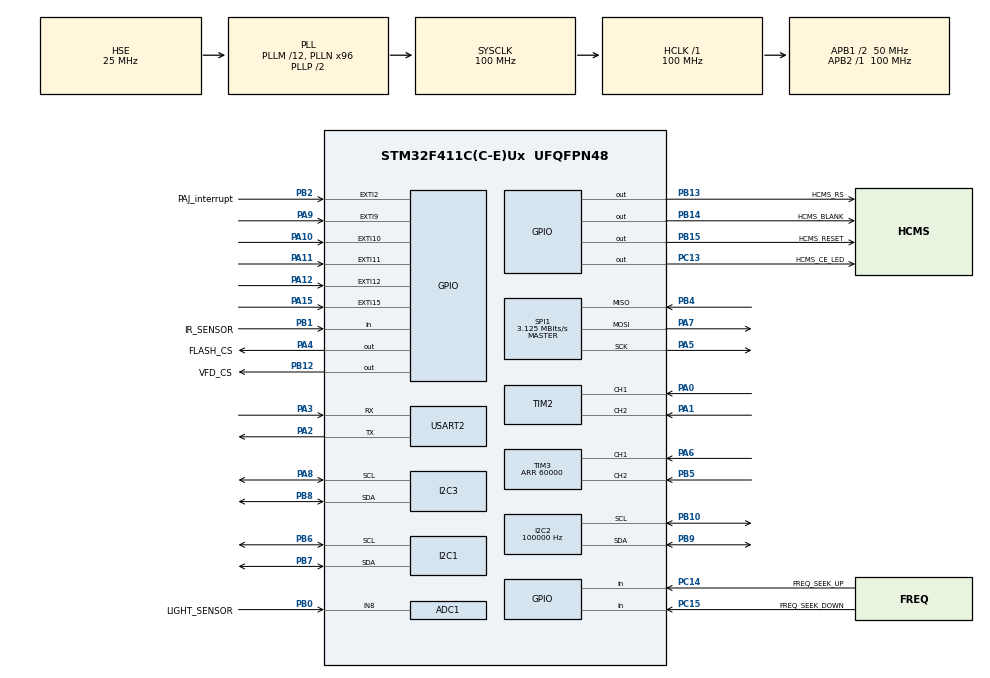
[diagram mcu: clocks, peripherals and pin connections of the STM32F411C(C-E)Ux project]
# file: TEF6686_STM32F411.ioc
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ADC1.Channel-0\#ChannelRegularConversion=ADC_CHANNEL_8
ADC1.NbrOfConversionFlag=1
ADC1.Rank-0\#ChannelRegularConversion=1
ADC1.SamplingTime-0\#ChannelRegularConversion=ADC_SAMPLETIME_3CYCLES
ADC1.master=1
I2C1.I2C_Mode=I2C_Fast
I2C2.ClockSpeed=100000
I2C2.DutyCycle=I2C_DUTYCYCLE_16_9
I2C2.I2C_Mode=I2C_Fast
IWDG.Prescaler=IWDG_PRESCALER_128
IWDG.Reload=600
Mcu.Family=STM32F4
Mcu.Name=STM32F411C(C-E)Ux
Mcu.Package=UFQFPN48
NVIC.EXTI15_10_IRQn=true\:0\:0\:false\:false\:true\:true\:true\:true
NVIC.EXTI2_IRQn=true\:0\:0\:false\:false\:true\:true\:true\:true
NVIC.EXTI9_5_IRQn=true\:0\:0\:false\:false\:true\:true\:true\:true
NVIC.PriorityGroup=NVIC_PRIORITYGROUP_4
NVIC.TIM1_UP_TIM10_IRQn=true\:15\:0\:false\:false\:true\:false\:true\:true
NVIC.TIM2_IRQn=true\:0\:0\:false\:false\:true\:true\:true\:true
NVIC.TIM3_IRQn=true\:0\:0\:false\:false\:true\:true\:true\:true
NVIC.TIM4_IRQn=true\:0\:0\:false\:false\:true\:true\:true\:true
NVIC.TIM5_IRQn=true\:0\:0\:false\:false\:true\:true\:true\:true
NVIC.TimeBase=TIM1_UP_TIM10_IRQn
NVIC.TimeBaseIP=TIM1
NVIC.USART2_IRQn=true\:0\:0\:false\:false\:true\:true\:true\:true
PA0-WKUP.Signal=S_TIM2_CH1_ETR
PA1.Signal=S_TIM2_CH2
PA10.GPIO_ModeDefaultEXTI=GPIO_MODE_IT_FALLING
PA10.GPIO_PuPd=GPIO_PULLUP
PA10.Signal=GPXTI10
PA11.GPIO_ModeDefaultEXTI=GPIO_MODE_IT_FALLING
PA11.GPIO_PuPd=GPIO_PULLUP
PA11.Signal=GPXTI11
PA12.GPIO_ModeDefaultEXTI=GPIO_MODE_IT_FALLING
PA12.GPIO_PuPd=GPIO_PULLUP
PA12.Signal=GPXTI12
PA13.Mode=Serial_Wire
PA13.Signal=SYS_JTMS-SWDIO
PA14.Mode=Serial_Wire
PA14.Signal=SYS_JTCK-SWCLK
PA15.GPIO_ModeDefaultEXTI=GPIO_MODE_IT_FALLING
PA15.GPIO_PuPd=GPIO_PULLUP
PA15.Signal=GPXTI15
PA2.Mode=Asynchronous
PA2.Signal=USART2_TX
PA3.Mode=Asynchronous
PA3.Signal=USART2_RX
PA4.GPIO_Label=FLASH_CS
PA4.GPIO_Speed=GPIO_SPEED_FREQ_VERY_HIGH
PA4.PinState=GPIO_PIN_SET
PA4.Signal=GPIO_Output
PA5.Mode=Full_Duplex_Master
PA5.Signal=SPI1_SCK
PA6.Signal=S_TIM3_CH1
PA7.Mode=Full_Duplex_Master
PA7.Signal=SPI1_MOSI
PA8.Mode=I2C
PA8.Signal=I2C3_SCL
PA9.GPIO_ModeDefaultEXTI=GPIO_MODE_IT_FALLING
PA9.GPIO_PuPd=GPIO_PULLUP
PA9.Signal=GPXTI9
PB0.GPIO_Label=LIGHT_SENSOR
PB0.Signal=ADCx_IN8
PB1.GPIO_Label=IR_SENSOR
PB1.Signal=GPIO_Input
PB10.GPIO_Pu=GPIO_NOPULL
PB10.Mode=I2C
PB10.Signal=I2C2_SCL
PB12.GPIO_Label=VFD_CS
PB12.Signal=GPIO_Output
PB13.GPIO_Label=HCMS_RS
PB13.Signal=GPIO_Output
PB14.GPIO_Label=HCMS_BLANK
PB14.Signal=GPIO_Output
PB15.GPIO_Label=HCMS_RESET
PB15.Signal=GPIO_Output
PB2.GPIO_Label=PAJ_interrupt
PB2.GPIO_ModeDefaultEXTI=GPIO_MODE_IT_FALLING
PB2.GPIO_PuPd=GPIO_PULLUP
PB2.Signal=GPXTI2
PB3.Signal=SYS_JTDO-SWO
PB4.Mode=Full_Duplex_Master
PB4.Signal=SPI1_MISO
PB5.Signal=S_TIM3_CH2
PB6.GPIO_Pu=GPIO_NOPULL
PB6.GPIO_Speed=GPIO_SPEED_FREQ_VERY_HIGH
PB6.Mode=I2C
PB6.Signal=I2C1_SCL
PB7.GPIO_Pu=GPIO_NOPULL
PB7.GPIO_Speed=GPIO_SPEED_FREQ_VERY_HIGH
PB7.Mode=I2C
PB7.Signal=I2C1_SDA
PB8.Mode=I2C
PB8.Signal=I2C3_SDA
PB9.GPIO_Pu=GPIO_NOPULL
PB9.Mode=I2C
PB9.Signal=I2C2_SDA
PC13-ANTI_TAMP.GPIO_Label=HCMS_CE_LED
PC13-ANTI_TAMP.Signal=GPIO_Output
PC14-OSC32_IN.GPIO_Label=FREQ_SEEK_UP
PC14-OSC32_IN.GPIO_PuPd=GPIO_PULLUP
PC14-OSC32_IN.Signal=GPIO_Input
PC15-OSC32_OUT.GPIO_Label=FREQ_SEEK_DOWN
PC15-OSC32_OUT.GPIO_PuPd=GPIO_PULLUP
PC15-OSC32_OUT.Signal=GPIO_Input
PH0\ -\ OSC_IN.Mode=HSE-External-Oscillator
PH0\ -\ OSC_IN.Signal=RCC_OSC_IN
PH1\ -\ OSC_OUT.Mode=HSE-External-Oscillator
PH1\ -\ OSC_OUT.Signal=RCC_OSC_OUT
ProjectManager.HeapSize=0x200
ProjectManager.StackSize=0x400
ProjectManager.TargetToolchain=STM32CubeIDE
RCC.48MHZClocksFreq_Value=50000000
RCC.AHBFreq_Value=100000000
RCC.APB1CLKDivider=RCC_HCLK_DIV2
RCC.APB1Freq_Value=50000000
RCC.APB1TimFreq_Value=100000000
RCC.APB2Freq_Value=100000000
RCC.APB2TimFreq_Value=100000000
RCC.CortexFreq_Value=100000000
RCC.HCLKFreq_Value=100000000
RCC.HSE_VALUE=25000000
RCC.HSI_VALUE=16000000
RCC.LSE_VALUE=32768
RCC.PLLM=12
RCC.PLLN=96
RCC.PLLSourceVirtual=RCC_PLLSOURCE_HSE
RCC.SYSCLKFreq_VALUE=100000000
RCC.SYSCLKSource=RCC_SYSCLKSOURCE_PLLCLK
RCC.VCOOutputFreq_Value=200000000
SH.ADCx_IN8.0=ADC1_IN8,IN8
SH.S_TIM2_CH1_ETR.0=TIM2_CH1,Encoder_Interface
SH.S_TIM2_CH2.0=TIM2_CH2,Encoder_Interface
SH.S_TIM3_CH1.0=TIM3_CH1,Encoder_Interface
SH.S_TIM3_CH2.0=TIM3_CH2,Encoder_Interface
SPI1.BaudRatePrescaler=SPI_BAUDRATEPRESCALER_32
SPI1.CalculateBaudRate=3.125 MBits/s
SPI1.Direction=SPI_DIRECTION_2LINES
SPI1.Mode=SPI_MODE_MASTER
SPI1.VirtualType=VM_MASTER
TIM2.CounterMode=TIM_COUNTERMODE_UP
TIM2.EncoderMode=TIM_ENCODERMODE_TI1
TIM2.IC1Filter=10
TIM2.IC2Filter=10
TIM3.AutoReloadPreload=TIM_AUTORELOAD_PRELOAD_DISABLE
TIM3.CounterMode=TIM_COUNTERMODE_UP
TIM3.EncoderMode=TIM_ENCODERMODE_TI1
TIM3.IC1Filter=10
TIM3.IC2Filter=10
TIM3.Period=60000
TIM4.AutoReloadPreload=TIM_AUTORELOAD_PRELOAD_ENABLE
TIM4.CounterMode=TIM_COUNTERMODE_DOWN
TIM4.Period=64000
TIM4.Prescaler=4000
TIM5.AutoReloadPreload=TIM_AUTORELOAD_PRELOAD_ENABLE
TIM5.ClockDivision=TIM_CLOCKDIVISION_DIV1
TIM5.CounterMode=TIM_COUNTERMODE_DOWN
TIM5.Period=9999
TIM5.Prescaler=29999
USART2.VirtualMode=VM_ASYNC
VP_IWDG_VS_IWDG.Mode=IWDG_Activate
VP_SYS_VS_tim1.Mode=TIM1
VP_TIM4_VS_ClockSourceINT.Mode=Internal
VP_TIM5_VS_ClockSourceINT.Mode=Internal
board=custom

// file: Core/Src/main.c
/* USER CODE BEGIN Header */

// Functioneaza cu dsp_init declarat in RAM

// TODO
/* de afisat mod stereo cu un punct pe display
 * de rezolvat cautarea automata intr-o singura banda
 * animatii display
 * memorii posturi                                       ok
 * de ce dureaza bucla while principala atat de mult ??
 * eroare afisare punct 90.0
 *
 *
 *
 *
 * */
/**
  ******************************************************************************
  * @file           : main.c
  * @brief          : Main program body
  ******************************************************************************
  * @attention
  *
  * Copyright (c) 2023 STMicroelectronics.
  * All rights reserved.
  *
  * This software is licensed under terms that can be found in the LICENSE file
  * in the root directory of this software component.
  * If no LICENSE file comes with this software, it is provided AS-IS.
  *
  ******************************************************************************
  */
/* USER CODE END Header */
#include "main.h"
#include "adc.h"
#include "i2c.h"
#include "iwdg.h"
#include "spi.h"
#include "tim.h"
#include "usart.h"
#include "gpio.h"

/* USER CODE BEGIN Includes */
//#include "string.h"
//#include "stdio.h"
//#include <stdint.h>
#include "DISP_14_SEG.h"
#include "tef6686.h"
#include "I2C_reg.h"
#include "display_functions.h"
#include "W25Qxx.h"
#include "RevEng_PAJ7620.h"
//#include "paj7620.h"
/* USER CODE END Includes */

/* USER CODE BEGIN PD */
//#define TEF6686_I2C_ADDRESS        0x64
//#define DISPLAY_ADDRESS 0x70<<1
#define DISPLAY_ADDRESS 0x70<<1  //

/*
    Notice: When you want to recognize the Forward/Backward gestures, your gestures' reaction time must less than GES_ENTRY_TIME(0.8s).
            You also can adjust the reaction time according to the actual circumstance.
*/
#define GES_REACTION_TIME	500	 // You can adjust the reaction time according to the actual circumstance.
#define GES_ENTRY_TIME		800	 // When you want to recognize the Forward/Backward gestures, your gestures' reaction time must less than GES_ENTRY_TIME(0.8s).
#define GES_QUIT_TIME		1000
/* USER CODE END PD */

/* USER CODE BEGIN PV */
extern struct RdsInfo rdsInfo;
extern uint8_t isRDSReady;
uint32_t contor;
extern uint32_t Radio_CurrentFreq;
volatile bool seek_up;
volatile bool seek_down;
//char *start_radio = "Start radio...\n\r";
char str1[30];
char message_frequency[36];
char message_frequency_display[36];
char message_volume[26];

extern int16_t volume;
extern uint32_t freq;

//uint32_t current_freq;  // todo local

extern uint32_t REG_FREQ;
extern uint32_t MODA_FREQ;
extern uint32_t MODF_FREQ;
extern int8_t Filter_AM;
extern int8_t Filter_FM;
extern int8_t current_filter;  // Current FIR filter (-1 is adaptive)

char str[40];

uint16_t encoder_reading_f, old_encoder_reading_f;
uint16_t encoder_reading_v, old_encoder_reading_v;

extern char rdsRadioText[65];
extern char rdsProgramType[17];
extern char rdsProgramService[50];
//extern char display_buffer[]; // 8 caractere

//char message_freq_static[13];

uint16_t seek_frequency;
bool isFmSeekMode;
bool isFmSeekUp;
uint8_t current_band;
uint8_t stereo_status; //0 mono, 1 stereo
bool rds_info_ready_to_display;
extern char programServicePrevious[50];
extern char radioTextPrevious[65];

char memory1[] = "MEMORY 1 ";
char memory2[] = "MEMORY 2 ";
char memory3[] = "MEMORY 3 ";
char memory4[] = "MEMORY 4 ";
char memory5[] = "MEMORY 5 ";
char fm_radio[] = "FM RADIO ";
char search_up[] = "SEARCH->";
char search_down[] = "<-SEARCH";
char hello[]= " HELLO ";

extern char mess_frequency[30];
extern char mess_freq_static[30];
extern char mess_volume[30];
char mess_rds_ps[9];
char mess_rds_rt[65];
char mess_rds_rt1[9];
char mess_rds_rt2[9];
char mess_rds_rt3[9];
char mess_rds_rt4[9];
char mess_rds_rt5[9];
char mess_rds_rt6[9];
//char mess_rds_ps_rt[74];

uint8_t volatile change_rds_display;
bool volatile freq_vol_changed_manual;
uint8_t rds_string_lenght;
uint32_t ID = 0;
bool m1_button_pressed = false;
bool m2_button_pressed = false;
bool m3_button_pressed = false;
bool m4_button_pressed = false;
bool m5_button_pressed = false;

bool save_to_flash_m1 = false;
bool save_to_flash_m2 = false;
bool save_to_flash_m3 = false;
bool save_to_flash_m4 = false;
bool save_to_flash_m5 = false;

bool read_from_flash_m1 = false;
bool read_from_flash_m2 = false;
bool read_from_flash_m3 = false;
bool read_from_flash_m4 = false;
bool read_from_flash_m5 = false;

bool volum_changed = false;
bool save_to_flash_volume = false;
uint8_t volatile timer4 = 0;
// flash variable
uint8_t flash_RxData[20];
uint8_t flash_TxData[20];

bool PAJ_event = false;
uint8_t volum;
/* USER CODE END PV */

void SystemClock_Config(void);
/* USER CODE BEGIN PFP */
void display_rds_info();
/* USER CODE END PFP */

int main(void)
{

  /* USER CODE BEGIN 1 */
  //NVIC_SystemReset();
  /* USER CODE END 1 */

  /* MCU Configuration--------------------------------------------------------*/

  /* Reset of all peripherals, Initializes the Flash interface and the Systick. */
  HAL_Init();

  /* Configure the system clock */
  SystemClock_Config();

  /* Initialize all configured peripherals */
  MX_GPIO_Init();
  MX_I2C1_Init();
  MX_I2C2_Init();
  MX_SPI1_Init();
  MX_TIM2_Init();
  MX_TIM3_Init();
  MX_ADC1_Init();
  MX_USART2_UART_Init();
  MX_I2C3_Init();
  MX_TIM5_Init();
  MX_TIM4_Init();
  MX_IWDG_Init();
  /* USER CODE BEGIN 2 */
  W25Q_Reset();       // trebuie apelat aici, nu inainte de while
  ID = W25Q_ReadID();

//  uint8_t paj_error = 0;
//  paj_error = paj7620Init();			// initialize Paj7620 registers
//  if (paj_error) {
//      print_serial2_message_number("INIT ERROR,CODE: ", paj_error);
//  } else {
//      print_serial2_message("PAJ init OK");
//  }
  beginPAJ7620();
  enablePAJsensor();
  HAL_IWDG_Refresh(&hiwdg); //
  HAL_TIM_Encoder_Start_IT(&htim2, TIM_CHANNEL_ALL);  // volum
  HAL_TIM_Encoder_Start_IT(&htim3, TIM_CHANNEL_ALL);  // frecventa
  /* USER CODE END 2 */

  /* Infinite loop */
  /* USER CODE BEGIN WHILE */

  HAL_GPIO_WritePin(HCMS_CE_LED_GPIO_Port, HCMS_CE_LED_Pin, GPIO_PIN_RESET);
  print_serial2_message("Start radio...");
  HAL_IWDG_Refresh(&hiwdg);
  uint8_t start_rd_ok = init_radio();
  HAL_IWDG_Refresh(&hiwdg); //
  powerOn();
  HAL_IWDG_Refresh(&hiwdg);
  Radio_SetBand(FM1_BAND); // ??
  HAL_IWDG_Refresh(&hiwdg);
  current_band = Radio_GetCurrentBand(); // 1 => 65-108
  HAL_IWDG_Refresh(&hiwdg);
  load_default_station_and_volume();
  sprintf(message_frequency, "START RADIO CODE = %i \r", start_rd_ok); // 1 = OK, 2 = Doesn't exist, 0 = busy
  print_serial2_message(message_frequency);
  //HAL_IWDG_Refresh(&hiwdg); //
  uint16_t current_freq = getFrequency();
  sprintf(message_frequency, "curentFrecv = %i MHz \r", current_freq);
  print_serial2_message(message_frequency);
  change_rds_display = 0;
  HAL_Delay(100);
  HAL_GPIO_WritePin(HCMS_CE_LED_GPIO_Port, HCMS_CE_LED_Pin, GPIO_PIN_SET);
  HAL_IWDG_Refresh(&hiwdg);
  begin_disp(DISPLAY_ADDRESS);  // pass in the address
  display_static_message(fm_radio);
  HAL_Delay(1000);
  clear_display();

  freq_vol_changed_manual = true;
  HAL_TIM_Base_Start_IT(&htim4); //
  HAL_TIM_Base_Start_IT(&htim5); // Enable the timer
  freq = current_freq;
  populate_freq_array(freq);
  change_rds_display = 1;

  while (1)
  {
    /* USER CODE END WHILE */

    /* USER CODE BEGIN 3 */
      HAL_IWDG_Refresh(&hiwdg);
      contor++;
      showFmSeek();
                   //stereo_status = getStereoStatus(); // very very slow function!!!
      read_seek_up_down_gpio();
      read_volume_encoder();
      read_frequency_encoder();
      show_rds_informations();
      read_write_memory_stations_vol();
      read_PAJ_gesture();
  }
  /* USER CODE END 3 */
}

void SystemClock_Config(void)
{
  RCC_OscInitTypeDef RCC_OscInitStruct = {0};
  RCC_ClkInitTypeDef RCC_ClkInitStruct = {0};

  /** Configure the main internal regulator output voltage
  */
  __HAL_RCC_PWR_CLK_ENABLE();
  __HAL_PWR_VOLTAGESCALING_CONFIG(PWR_REGULATOR_VOLTAGE_SCALE1);

  /** Initializes the RCC Oscillators according to the specified parameters
  * in the RCC_OscInitTypeDef structure.
  */
  RCC_OscInitStruct.OscillatorType = RCC_OSCILLATORTYPE_LSI|RCC_OSCILLATORTYPE_HSE;
  RCC_OscInitStruct.HSEState = RCC_HSE_ON;
  RCC_OscInitStruct.LSIState = RCC_LSI_ON;
  RCC_OscInitStruct.PLL.PLLState = RCC_PLL_ON;
  RCC_OscInitStruct.PLL.PLLSource = RCC_PLLSOURCE_HSE;
  RCC_OscInitStruct.PLL.PLLM = 12;
  RCC_OscInitStruct.PLL.PLLN = 96;
  RCC_OscInitStruct.PLL.PLLP = RCC_PLLP_DIV2;
  RCC_OscInitStruct.PLL.PLLQ = 4;
  if (HAL_RCC_OscConfig(&RCC_OscInitStruct) != HAL_OK)
  {
    Error_Handler();
  }

  /** Initializes the CPU, AHB and APB buses clocks
  */
  RCC_ClkInitStruct.ClockType = RCC_CLOCKTYPE_HCLK|RCC_CLOCKTYPE_SYSCLK
                              |RCC_CLOCKTYPE_PCLK1|RCC_CLOCKTYPE_PCLK2;
  RCC_ClkInitStruct.SYSCLKSource = RCC_SYSCLKSOURCE_PLLCLK;
  RCC_ClkInitStruct.AHBCLKDivider = RCC_SYSCLK_DIV1;
  RCC_ClkInitStruct.APB1CLKDivider = RCC_HCLK_DIV2;
  RCC_ClkInitStruct.APB2CLKDivider = RCC_HCLK_DIV1;

  if (HAL_RCC_ClockConfig(&RCC_ClkInitStruct, FLASH_LATENCY_3) != HAL_OK)
  {
    Error_Handler();
  }
}

/* USER CODE BEGIN 4 */
int _write(int file, char *ptr, int len)
{
	int DataIdx;
    for(DataIdx = 0; DataIdx < len; DataIdx++)
    {
    	ITM_SendChar(*ptr++);
    }

     return len;
}

void display_rds_info()
{
  isRDSReady = readRDS();
  getRDS(&rdsInfo);

  showPTY();
  showPS();
  showRadioText();
}

void showFmSeek() {
	uint16_t current_freq;
  if (isFmSeekMode) {
    if (seekSync(isFmSeekUp)) {
      isFmSeekMode = false;
      print_serial2_message("Seek stopped");
      current_freq = getFrequency();
      TIM3->CNT = ((current_freq - 8750)/10)<<1;
	  clear_display();
	  disp_freq(current_freq);
	  freq = current_freq;
      sprintf(message_frequency, "curentFrecv = %li MHz \r", freq);
      print_serial2_message(message_frequency);
      populate_freq_array(freq);
      //sprintf(message_frequency_display, "FREQ = %lu MHZ  ", freq);
    }

  }
}

uint8_t prepare_rds_for_display(char *rds_message)
{
	rds_info_ready_to_display = false;
	//char message[9];
	//uint8_t string_length = strlen(rds_message);

	//strncpy(mess_rds_ps, rds_message, NR_OF_DIGITS); // copies first 8 characters from the string 'rds_message' to
	uint8_t last_index =  find_3_space_in_string(rds_message); // sfarsitul stringului
	strncpy(mess_rds_rt, rds_message, last_index);
	mess_rds_rt[last_index + 1] = '\0';
	if (last_index <= 2)
	{
		mess_rds_ps[0] = programServicePrevious[0];
		mess_rds_ps[1] = programServicePrevious[1];
		mess_rds_ps[2] = programServicePrevious[2];
		mess_rds_ps[3] = programServicePrevious[3];
		mess_rds_ps[4] = programServicePrevious[4];
		mess_rds_ps[5] = programServicePrevious[5];
		mess_rds_ps[6] = programServicePrevious[6];
		mess_rds_ps[7] = programServicePrevious[7];
		mess_rds_ps[8] = '\0';
	}
	else if ((last_index > 2) && (last_index <= 8))
	{
		//change_rds_display = 1;
		mess_rds_rt1[0] = mess_rds_rt[0];
		mess_rds_rt1[1] = mess_rds_rt[1];
		mess_rds_rt1[2] = mess_rds_rt[2];
		mess_rds_rt1[3] = mess_rds_rt[3];
		mess_rds_rt1[4] = mess_rds_rt[4];
		mess_rds_rt1[5] = mess_rds_rt[5];
		mess_rds_rt1[6] = mess_rds_rt[6];
		mess_rds_rt1[7] = mess_rds_rt[7];
		mess_rds_rt1[8] = '\0';
	}
	else if (last_index <= 16)
	{
		//change_rds_display = 2;
		mess_rds_rt1[0] = mess_rds_rt[0];
		mess_rds_rt1[1] = mess_rds_rt[1];
		mess_rds_rt1[2] = mess_rds_rt[2];
		mess_rds_rt1[3] = mess_rds_rt[3];
		mess_rds_rt1[4] = mess_rds_rt[4];
		mess_rds_rt1[5] = mess_rds_rt[5];
		mess_rds_rt1[6] = mess_rds_rt[6];
		mess_rds_rt1[7] = mess_rds_rt[7];
		mess_rds_rt1[8] = '\0';

		mess_rds_rt2[0] = mess_rds_rt[8];
		mess_rds_rt2[1] = mess_rds_rt[9];
		mess_rds_rt2[2] = mess_rds_rt[10];
		mess_rds_rt2[3] = mess_rds_rt[11];
		mess_rds_rt2[4] = mess_rds_rt[12];
		mess_rds_rt2[5] = mess_rds_rt[13];
		mess_rds_rt2[6] = mess_rds_rt[14];
		mess_rds_rt2[7] = mess_rds_rt[15];
		mess_rds_rt2[8] = '\0';
	}
	else if (last_index <= 24)
	{
		//change_rds_display = 3;
		mess_rds_rt1[0] = mess_rds_rt[0];
		mess_rds_rt1[1] = mess_rds_rt[1];
		mess_rds_rt1[2] = mess_rds_rt[2];
		mess_rds_rt1[3] = mess_rds_rt[3];
		mess_rds_rt1[4] = mess_rds_rt[4];
		mess_rds_rt1[5] = mess_rds_rt[5];
		mess_rds_rt1[6] = mess_rds_rt[6];
		mess_rds_rt1[7] = mess_rds_rt[7];
		mess_rds_rt1[8] = '\0';

		mess_rds_rt2[0] = mess_rds_rt[8];
		mess_rds_rt2[1] = mess_rds_rt[9];
		mess_rds_rt2[2] = mess_rds_rt[10];
		mess_rds_rt2[3] = mess_rds_rt[11];
		mess_rds_rt2[4] = mess_rds_rt[12];
		mess_rds_rt2[5] = mess_rds_rt[13];
		mess_rds_rt2[6] = mess_rds_rt[14];
		mess_rds_rt2[7] = mess_rds_rt[15];
		mess_rds_rt2[8] = '\0';

		mess_rds_rt3[0] = mess_rds_rt[16];
		mess_rds_rt3[1] = mess_rds_rt[17];
		mess_rds_rt3[2] = mess_rds_rt[18];
		mess_rds_rt3[3] = mess_rds_rt[19];
		mess_rds_rt3[4] = mess_rds_rt[20];
		mess_rds_rt3[5] = mess_rds_rt[21];
		mess_rds_rt3[6] = mess_rds_rt[22];
		mess_rds_rt3[7] = mess_rds_rt[23];
		mess_rds_rt3[8] = '\0';
	}
	else if (last_index <= 32)
	{
		//change_rds_display = 4;
		mess_rds_rt1[0] = mess_rds_rt[0];
		mess_rds_rt1[1] = mess_rds_rt[1];
		mess_rds_rt1[2] = mess_rds_rt[2];
		mess_rds_rt1[3] = mess_rds_rt[3];
		mess_rds_rt1[4] = mess_rds_rt[4];
		mess_rds_rt1[5] = mess_rds_rt[5];
		mess_rds_rt1[6] = mess_rds_rt[6];
		mess_rds_rt1[7] = mess_rds_rt[7];
		mess_rds_rt1[8] = '\0';

		mess_rds_rt2[0] = mess_rds_rt[8];
		mess_rds_rt2[1] = mess_rds_rt[9];
		mess_rds_rt2[2] = mess_rds_rt[10];
		mess_rds_rt2[3] = mess_rds_rt[11];
		mess_rds_rt2[4] = mess_rds_rt[12];
		mess_rds_rt2[5] = mess_rds_rt[13];
		mess_rds_rt2[6] = mess_rds_rt[14];
		mess_rds_rt2[7] = mess_rds_rt[15];
		mess_rds_rt2[8] = '\0';

		mess_rds_rt3[0] = mess_rds_rt[16];
		mess_rds_rt3[1] = mess_rds_rt[17];
		mess_rds_rt3[2] = mess_rds_rt[18];
		mess_rds_rt3[3] = mess_rds_rt[19];
		mess_rds_rt3[4] = mess_rds_rt[20];
		mess_rds_rt3[5] = mess_rds_rt[21];
		mess_rds_rt3[6] = mess_rds_rt[22];
		mess_rds_rt3[7] = mess_rds_rt[23];
		mess_rds_rt3[8] = '\0';

		mess_rds_rt4[0] = mess_rds_rt[24];
		mess_rds_rt4[1] = mess_rds_rt[25];
		mess_rds_rt4[2] = mess_rds_rt[26];
		mess_rds_rt4[3] = mess_rds_rt[27];
		mess_rds_rt4[4] = mess_rds_rt[28];
		mess_rds_rt4[5] = mess_rds_rt[29];
		mess_rds_rt4[6] = mess_rds_rt[30];
		mess_rds_rt4[7] = mess_rds_rt[31];
		mess_rds_rt4[8] = '\0';
	}
	else if (last_index <= 40)
	{
		//change_rds_display = 5;
		mess_rds_rt1[0] = mess_rds_rt[0];
		mess_rds_rt1[1] = mess_rds_rt[1];
		mess_rds_rt1[2] = mess_rds_rt[2];
		mess_rds_rt1[3] = mess_rds_rt[3];
		mess_rds_rt1[4] = mess_rds_rt[4];
		mess_rds_rt1[5] = mess_rds_rt[5];
		mess_rds_rt1[6] = mess_rds_rt[6];
		mess_rds_rt1[7] = mess_rds_rt[7];
		mess_rds_rt1[8] = '\0';

		mess_rds_rt2[0] = mess_rds_rt[8];
		mess_rds_rt2[1] = mess_rds_rt[9];
		mess_rds_rt2[2] = mess_rds_rt[10];
		mess_rds_rt2[3] = mess_rds_rt[11];
		mess_rds_rt2[4] = mess_rds_rt[12];
		mess_rds_rt2[5] = mess_rds_rt[13];
		mess_rds_rt2[6] = mess_rds_rt[14];
		mess_rds_rt2[7] = mess_rds_rt[15];
		mess_rds_rt2[8] = '\0';

		mess_rds_rt3[0] = mess_rds_rt[16];
		mess_rds_rt3[1] = mess_rds_rt[17];
		mess_rds_rt3[2] = mess_rds_rt[18];
		mess_rds_rt3[3] = mess_rds_rt[19];
		mess_rds_rt3[4] = mess_rds_rt[20];
		mess_rds_rt3[5] = mess_rds_rt[21];
		mess_rds_rt3[6] = mess_rds_rt[22];
		mess_rds_rt3[7] = mess_rds_rt[23];
		mess_rds_rt3[8] = '\0';

		mess_rds_rt4[0] = mess_rds_rt[24];
		mess_rds_rt4[1] = mess_rds_rt[25];
		mess_rds_rt4[2] = mess_rds_rt[26];
		mess_rds_rt4[3] = mess_rds_rt[27];
		mess_rds_rt4[4] = mess_rds_rt[28];
		mess_rds_rt4[5] = mess_rds_rt[29];
		mess_rds_rt4[6] = mess_rds_rt[30];
		mess_rds_rt4[7] = mess_rds_rt[31];
		mess_rds_rt4[8] = '\0';

		mess_rds_rt5[0] = mess_rds_rt[32];
		mess_rds_rt5[1] = mess_rds_rt[33];
		mess_rds_rt5[2] = mess_rds_rt[34];
		mess_rds_rt5[3] = mess_rds_rt[35];
		mess_rds_rt5[4] = mess_rds_rt[36];
		mess_rds_rt5[5] = mess_rds_rt[37];
		mess_rds_rt5[6] = mess_rds_rt[38];
		mess_rds_rt5[7] = mess_rds_rt[39];
		mess_rds_rt5[8] = '\0';
	}
	else
	{
		//change_rds_display = 6;
		mess_rds_rt1[0] = mess_rds_rt[0];
		mess_rds_rt1[1] = mess_rds_rt[1];
		mess_rds_rt1[2] = mess_rds_rt[2];
		mess_rds_rt1[3] = mess_rds_rt[3];
		mess_rds_rt1[4] = mess_rds_rt[4];
		mess_rds_rt1[5] = mess_rds_rt[5];
		mess_rds_rt1[6] = mess_rds_rt[6];
		mess_rds_rt1[7] = mess_rds_rt[7];
		mess_rds_rt1[8] = '\0';

		mess_rds_rt2[1] = mess_rds_rt[9];
		mess_rds_rt2[0] = mess_rds_rt[8];
		mess_rds_rt2[2] = mess_rds_rt[10];
		mess_rds_rt2[3] = mess_rds_rt[11];
		mess_rds_rt2[4] = mess_rds_rt[12];
		mess_rds_rt2[5] = mess_rds_rt[13];
		mess_rds_rt2[6] = mess_rds_rt[14];
		mess_rds_rt2[7] = mess_rds_rt[15];
		mess_rds_rt2[8] = '\0';

		mess_rds_rt3[0] = mess_rds_rt[16];
		mess_rds_rt3[1] = mess_rds_rt[17];
		mess_rds_rt3[2] = mess_rds_rt[18];
		mess_rds_rt3[3] = mess_rds_rt[19];
		mess_rds_rt3[4] = mess_rds_rt[20];
		mess_rds_rt3[5] = mess_rds_rt[21];
		mess_rds_rt3[6] = mess_rds_rt[22];
		mess_rds_rt3[7] = mess_rds_rt[23];
		mess_rds_rt3[8] = '\0';

		mess_rds_rt4[0] = mess_rds_rt[24];
		mess_rds_rt4[1] = mess_rds_rt[25];
		mess_rds_rt4[2] = mess_rds_rt[26];
		mess_rds_rt4[3] = mess_rds_rt[27];
		mess_rds_rt4[4] = mess_rds_rt[28];
		mess_rds_rt4[5] = mess_rds_rt[29];
		mess_rds_rt4[6] = mess_rds_rt[30];
		mess_rds_rt4[7] = mess_rds_rt[31];
		mess_rds_rt4[8] = '\0';

		mess_rds_rt5[0] = mess_rds_rt[32];
		mess_rds_rt5[1] = mess_rds_rt[33];
		mess_rds_rt5[2] = mess_rds_rt[34];
		mess_rds_rt5[3] = mess_rds_rt[35];
		mess_rds_rt5[4] = mess_rds_rt[36];
		mess_rds_rt5[5] = mess_rds_rt[37];
		mess_rds_rt5[6] = mess_rds_rt[38];
		mess_rds_rt5[7] = mess_rds_rt[39];
		mess_rds_rt5[8] = '\0';

		mess_rds_rt6[0] = mess_rds_rt[40];
		mess_rds_rt6[1] = mess_rds_rt[41];
		mess_rds_rt6[2] = mess_rds_rt[42];
		mess_rds_rt6[3] = mess_rds_rt[43];
		mess_rds_rt6[4] = mess_rds_rt[44];
		mess_rds_rt6[5] = mess_rds_rt[45];
		mess_rds_rt6[6] = mess_rds_rt[46];
		mess_rds_rt6[7] = mess_rds_rt[47];
		mess_rds_rt6[8] = '\0';
	}
	rds_info_ready_to_display = true;
	return last_index;
}

void clear_buffers()
{
	change_rds_display = 1;
	clear_rds_buffers(radioTextPrevious, 65);
    clear_rds_buffers(rdsRadioText, 65);
    clear_rds_buffers(mess_rds_rt, 64);
	clear_rds_buffers(rdsProgramType, 17);
    clear_rds_buffers(rdsProgramService, 50);

    clear_rds_buffers(mess_rds_rt1, 8);
    clear_rds_buffers(mess_rds_rt2, 8);
    clear_rds_buffers(mess_rds_rt3, 8);
    clear_rds_buffers(mess_rds_rt4, 8);
    clear_rds_buffers(mess_rds_rt5, 8);
    clear_rds_buffers(mess_rds_rt6, 8);
}
void HAL_GPIO_EXTI_Callback(uint16_t GPIO_Pin)
{
	 if(GPIO_Pin == GPIO_PIN_9)                  // PA9 M1
	 {
	    print_serial2_message("M1 pressed");
	    m1_button_pressed = true;
	    freq_vol_changed_manual = true;
	    __HAL_TIM_SET_COUNTER(&htim5, 9999); // reset timer (countdown timer)
	    clear_buffers();
	    clear_display();
	 }
	 if(GPIO_Pin == GPIO_PIN_10)                 // PA10 M2
	 {
	    print_serial2_message("M2 pressed");
	    m2_button_pressed = true;
	    freq_vol_changed_manual = true;
	    __HAL_TIM_SET_COUNTER(&htim5, 9999); // reset timer (countdown timer)
	    clear_buffers();
	    clear_display();
	 }
	 if(GPIO_Pin == GPIO_PIN_11)                 // PA11 M3
	 {
	    print_serial2_message("M3 pressed");
	    m3_button_pressed = true;
	    freq_vol_changed_manual = true;
	    __HAL_TIM_SET_COUNTER(&htim5, 9999); // reset timer (countdown timer)
	    clear_buffers();
	    clear_display();
	 }
	 if(GPIO_Pin == GPIO_PIN_12)                 // PA12 M4
	 {
	    print_serial2_message("M4 pressed");
	    m4_button_pressed = true;
	    freq_vol_changed_manual = true;
	    __HAL_TIM_SET_COUNTER(&htim5, 9999); // reset timer (countdown timer)
	    clear_buffers();
	    clear_display();
	 }
	 if(GPIO_Pin == GPIO_PIN_15)                 // PA15 M5
	 {
	    print_serial2_message("M5 pressed");
	    m5_button_pressed = true;
	    freq_vol_changed_manual = true;
	    __HAL_TIM_SET_COUNTER(&htim5, 9999); // reset timer (countdown timer)
	    clear_buffers();
	    clear_display();
	 }
	 if(GPIO_Pin == PAJ_interrupt_Pin)
	 {
		 PAJ_event = true;
	 }
}
void read_write_memory_stations_vol()
{
	/////////////////////////// vol start /////////////////////////////////////////////////////
	save_volume(encoder_reading_v);

	/////////////////////////// vol end //////////////////////////////////////////////////////

	////////////////////////  M1 start ////////////////////////////////////////////////////////
			 if(m1_button_pressed == true)  //
			 {
				 static uint32_t current_count = 0;
				 if(HAL_GPIO_ReadPin (GPIOA, GPIO_PIN_9) == 0)  // is PA9 still pressed?
				 {

	     	    	 current_count++;
	                 if (current_count > 600000)  //
	                 {
	                     current_count = 0;
	                     save_to_flash_m1 = true;
	        			 m1_button_pressed = false;
	        			 read_from_flash_m1 = false;
	                 }
				 }
				 else
				 {
					 read_from_flash_m1 = true;
					 current_count = 0;
				 }
			 }
			 if(read_from_flash_m1 == true)
			 {
				 m1_button_pressed = false;
				 uint8_t curr_freq_low = W25Q_Read_Byte(1);
				 uint8_t curr_freq_high = W25Q_Read_Byte(2);
				 uint16_t curr_freq = curr_freq_low | (curr_freq_high << 8);
				 setFrequency(curr_freq);
				 clear_display();
				 curr_freq = getFrequency();
				 TIM3->CNT = ((curr_freq - 8750)/10)<<1;
				 disp_freq(curr_freq);
				 freq = curr_freq;
				 populate_freq_array(freq);
				 read_from_flash_m1 = false;
			 }
			 if(save_to_flash_m1 == true)
			 {
				 uint16_t current_freq = getFrequency();
				 uint8_t current_freq_low = current_freq & 0xff;
				 uint8_t current_freq_high = (current_freq >> 8);
				 __HAL_TIM_SET_COUNTER(&htim5, 9999); // reset timer
				 W25Q_Erase_Sector(0);
				 W25Q_Write_Byte(1, current_freq_low);
				 W25Q_Write_Byte(2, current_freq_high);
				 save_to_flash_m1 = false;
				 display_static_message(memory1);
				 uint32_t a;
				 for (uint32_t i = 0; i < 14900000; i++)
				 {
					 HAL_IWDG_Refresh(&hiwdg);
				    a++;
				 }
				 read_from_flash_m1 = true;
			 }
	/////////////////////////  M1 end ////////////////////////////////////////////////////////

	/////////////////////////  M2 start ////////////////////////////////////////////////////////
			 if(m2_button_pressed == true)  //
			 {
				static uint32_t current_count = 0;
			 	if(HAL_GPIO_ReadPin (GPIOA, GPIO_PIN_10) == 0)  // is PA10 still pressed?
			 	{

			      	 current_count++;
			         if (current_count > 600000)  //
			         {
			            current_count = 0;
			            save_to_flash_m2 = true;
			            m2_button_pressed = false;
			         	read_from_flash_m2 = false;
			         }
			 	}
			 	else
			 	{
			 		read_from_flash_m2 = true;
			 		current_count = 0;
			 	}
			 }
			 if(read_from_flash_m2 == true)
			 {
			 	m2_button_pressed = false;
			 	uint8_t curr_freq_low = W25Q_Read_Byte(4097);
			 	uint8_t curr_freq_high = W25Q_Read_Byte(4098);
			 	uint16_t curr_freq = curr_freq_low | (curr_freq_high << 8);
			 	setFrequency(curr_freq);
			 	clear_display();
			 	curr_freq = getFrequency();
			 	TIM3->CNT = ((curr_freq - 8750)/10)<<1;
			 	disp_freq(curr_freq);
			 	freq = curr_freq;
			 	populate_freq_array(freq);
			 	read_from_flash_m2 = false;
			 }
			 if(save_to_flash_m2 == true)
			 {
			 	uint16_t current_freq = getFrequency();
			 	uint8_t current_freq_low = current_freq & 0xff;
			 	uint8_t current_freq_high = (current_freq >> 8);
			    __HAL_TIM_SET_COUNTER(&htim5, 9999); // reset timer
			 	W25Q_Erase_Sector(1);
			 	W25Q_Write_Byte(4097, current_freq_low);
			 	W25Q_Write_Byte(4098, current_freq_high);
			 	save_to_flash_m2 = false;
			 	display_static_message(memory2);
			 	uint32_t a;
			 	for (uint32_t i = 0; i < 14900000; i++)
			 	{
			 		HAL_IWDG_Refresh(&hiwdg);
			 		a++;
			    }
			 	read_from_flash_m2 = true;
			 }
	/////////////////////////  M2 end ////////////////////////////////////////////////////////

	/////////////////////////  M3 start ////////////////////////////////////////////////////////
			 if(m3_button_pressed == true)  //
			 {
				static uint32_t current_count = 0;
			 	if(HAL_GPIO_ReadPin (GPIOA, GPIO_PIN_11) == 0)  // is PA11 still pressed?
			 	{
			 		current_count++;
			 		 if (current_count > 600000)
			 		 {
			 		    current_count = 0;
			 		    save_to_flash_m3 = true;
			 		    m3_button_pressed = false;
			 		 	read_from_flash_m3 = false;
			 		 }
			 	}
			 	else
			 	{
			 		 read_from_flash_m3 = true;
			 		 current_count = 0;
			 	}
			 }
			 if(read_from_flash_m3 == true)
			 {
			 	m3_button_pressed = false;
			 	uint8_t curr_freq_low = W25Q_Read_Byte(8193);
			 	uint8_t curr_freq_high = W25Q_Read_Byte(8194);
			 	uint16_t curr_freq = curr_freq_low | (curr_freq_high << 8);
			 	setFrequency(curr_freq);
			 	clear_display();
			 	curr_freq = getFrequency();
			 	TIM3->CNT = ((curr_freq - 8750)/10)<<1;
			 	disp_freq(curr_freq);
			 	freq = curr_freq;
			 	populate_freq_array(freq);
			 	read_from_flash_m3 = false;
			 }
			 if(save_to_flash_m3 == true)
			{
			 	uint16_t current_freq = getFrequency();
			 	uint8_t current_freq_low = current_freq & 0xff;
			 	uint8_t current_freq_high = (current_freq >> 8);
			 	__HAL_TIM_SET_COUNTER(&htim5, 9999); // reset timer
			 	W25Q_Erase_Sector(2);
			 	W25Q_Write_Byte(8193, current_freq_low);
			 	W25Q_Write_Byte(8194, current_freq_high);
			 	save_to_flash_m3 = false;
			 	display_static_message(memory3);
			 	uint32_t a;
			 	for (uint32_t i = 0; i < 14900000; i++)
			 	{
			 		HAL_IWDG_Refresh(&hiwdg);
			 		a++;
			 	}
			 	read_from_flash_m3 = true;
			}
	/////////////////////////  M3 end ////////////////////////////////////////////////////////

	/////////////////////////  M4 start ////////////////////////////////////////////////////////
			 if(m4_button_pressed == true)  //
			{
				static uint32_t current_count = 0;
				if(HAL_GPIO_ReadPin (GPIOA, GPIO_PIN_12) == 0)  // is PA12 still pressed?
				{
					 current_count++;
					 if (current_count > 600000)  //
					 {
						 current_count = 0;
						 save_to_flash_m4 = true;
						 m4_button_pressed = false;
						 read_from_flash_m4 = false;
					 }
				}
				else
					 {
					 	read_from_flash_m4 = true;
					    current_count = 0;
					 }
			}
			 if(read_from_flash_m4 == true)
			{
				m4_button_pressed = false;
				uint8_t curr_freq_low = W25Q_Read_Byte(12289);
				uint8_t curr_freq_high = W25Q_Read_Byte(12290);
				uint16_t curr_freq = curr_freq_low | (curr_freq_high << 8);
				setFrequency(curr_freq);
				clear_display();
				curr_freq = getFrequency();
				TIM3->CNT = ((curr_freq - 8750)/10)<<1;
				disp_freq(curr_freq);
				freq = curr_freq;
				populate_freq_array(freq);
				read_from_flash_m4 = false;
			}
			 if(save_to_flash_m4 == true)
			{
				uint16_t current_freq = getFrequency();
				uint8_t current_freq_low = current_freq & 0xff;
				uint8_t current_freq_high = (current_freq >> 8);
				__HAL_TIM_SET_COUNTER(&htim5, 9999); // reset timer
				W25Q_Erase_Sector(3);
				W25Q_Write_Byte(12289, current_freq_low);
				W25Q_Write_Byte(12290, current_freq_high);
				save_to_flash_m4 = false;
				display_static_message(memory4);
				uint32_t a;
				for (uint32_t i = 0; i < 14900000; i++)
				{
					 HAL_IWDG_Refresh(&hiwdg);
					 a++;
				}
				read_from_flash_m4 = true;
			}
	/////////////////////////  M4 end ////////////////////////////////////////////////////////

	/////////////////////////  M5 start ////////////////////////////////////////////////////////
			 if(m5_button_pressed == true)  //
			{
				static uint32_t current_count = 0;
				if(HAL_GPIO_ReadPin (GPIOA, GPIO_PIN_15) == 0)  // is PA15 still pressed?
				{
					 current_count++;
					 if (current_count > 600000)
					 {
					 	current_count = 0;
			 		    save_to_flash_m5 = true;
					 	m5_button_pressed = false;
					 	read_from_flash_m5 = false;
					 }
				}
				else
				{
					read_from_flash_m5 = true;
				 	current_count = 0;
				}
			}
			 if(read_from_flash_m5 == true)
			{
				m5_button_pressed = false;
				uint8_t curr_freq_low = W25Q_Read_Byte(16385);
				uint8_t curr_freq_high = W25Q_Read_Byte(16386);
				uint16_t curr_freq = curr_freq_low | (curr_freq_high << 8);
				setFrequency(curr_freq);
				clear_display();
				curr_freq = getFrequency();
				TIM3->CNT = ((curr_freq - 8750)/10)<<1;
				disp_freq(curr_freq);
				freq = curr_freq;
				populate_freq_array(freq);
				read_from_flash_m5 = false;
			}
			 if(save_to_flash_m5 == true)
			{
				uint16_t current_freq = getFrequency();
				uint8_t current_freq_low = current_freq & 0xff;
				uint8_t current_freq_high = (current_freq >> 8);
				__HAL_TIM_SET_COUNTER(&htim5, 9999); // reset timer
				W25Q_Erase_Sector(4);
				W25Q_Write_Byte(16385, current_freq_low);
				W25Q_Write_Byte(16386, current_freq_high);
				save_to_flash_m5 = false;
				display_static_message(memory5);
				uint32_t a;
				for (uint32_t i = 0; i < 14900000; i++)
				{
					HAL_IWDG_Refresh(&hiwdg);
					 a++;
				}
				read_from_flash_m5 = true;
			}
	/////////////////////////  M5 end ////////////////////////////////////////////////////////

}

void save_volume(uint8_t vol)
{
	if(volum_changed == true)
	{
		if(timer4 >= 1)
		{
			save_to_flash_volume = true;
			timer4 = 0;
		}
	}
	if(save_to_flash_volume == true)
	{
		save_to_flash_volume = false;
		volum_changed = false;
		W25Q_Erase_Sector(5);
	    W25Q_Write_Byte(20481, vol);
	}
}
void load_default_station_and_volume()
{
	  uint8_t curr_freq_low = W25Q_Read_Byte(1);
	  uint8_t curr_freq_high = W25Q_Read_Byte(2);
	  uint16_t curr_freq = curr_freq_low | (curr_freq_high << 8);
	  setFrequency(curr_freq);
	  uint16_t current_freq = getFrequency();
	  TIM3->CNT = ((current_freq - 8750)/10)<<1;
	  uint8_t curr_vol = W25Q_Read_Byte(20481);
	  if(curr_vol == 255)
		  curr_vol = 10;
	  int vol = map(curr_vol, 0, 30, -40, 15);   // map(value, fromLow, fromHigh, toLow, toHigh)
	  setVolume(vol);
	  TIM2->CNT = curr_vol<<1;
	  volum = curr_vol;
}
void read_volume_encoder()
{
	encoder_reading_v = (TIM2->CNT>>1);
	if (encoder_reading_v > 900)
	{
		TIM2->CNT = 1;                         //limit vol 0
		encoder_reading_v = (TIM2->CNT>>1);
	}
	if (encoder_reading_v > 30)
	{
		TIM2->CNT = 60;                         //limit vol = 30
		encoder_reading_v = (TIM2->CNT>>1);
	}
	if(encoder_reading_v != old_encoder_reading_v)
	{
	   freq_vol_changed_manual = true;
	   __HAL_TIM_SET_COUNTER(&htim5, 9999); // reset timer (countdown timer)

	   volum_changed = true;
	   __HAL_TIM_SET_COUNTER(&htim4, 64000); // reset timer (countdown timer)
	   timer4 = 0;
	   // map(value, fromLow, fromHigh, toLow, toHigh)
	   int vol = map(encoder_reading_v, 0, 30, -40, 15);
	   setVolume(vol);
	   sprintf(message_volume, "Vol = %i  \r", vol);
	   print_serial2_message(message_volume);
	   clear_display();
	   disp_vol(encoder_reading_v);
	   volum = encoder_reading_v;
	}
	old_encoder_reading_v = encoder_reading_v;
}

void read_frequency_encoder()
{
	encoder_reading_f = 10*(TIM3->CNT>>1);
	if(encoder_reading_f > 5000)
	{
		TIM3->CNT = 1;                         //limit f=87.5 Mhz
		encoder_reading_f = 10*(TIM3->CNT>>1);
	}
	if(encoder_reading_f > 2050)
	{
		TIM3->CNT = 410;                       //limit f=108 Mhz
		encoder_reading_f = 10*(TIM3->CNT>>1);
	}
	if(encoder_reading_f != old_encoder_reading_f)
	{
		//disablePAJsensor();
		freq_vol_changed_manual = true;
		__HAL_TIM_SET_COUNTER(&htim5, 9999); // reset timer (countdown timer)
		clear_buffers();
	    freq = 8750 + encoder_reading_f;
		setFrequency(freq);
	    sprintf(message_frequency, "Frecv = %li MHz \r", freq);
	    print_serial2_message(message_frequency);
	    clear_display();
	    disp_freq(freq);
	    uint16_t current_freq = getFrequency();
	    disp_freq(current_freq);
	    freq = current_freq;
	    populate_freq_array(freq);
	}
	old_encoder_reading_f = encoder_reading_f;
}
void show_rds_informations()
{
	if(contor >= 10000)
	{
		contor = 0;
		display_rds_info();
		print_serial2_message("==============================");
		if(isRDSReady)
		{
		    if(freq_vol_changed_manual == false)
		    {
		    	rds_string_lenght = prepare_rds_for_display(radioTextPrevious);
		    	if(rds_info_ready_to_display)
		    	{
		    		 if(rds_string_lenght <= 2)
		    		 {
					     change_rds_display = 1;
		    		 }
		    	     if(change_rds_display == 1)
		    	     {
		    	    	if(rds_string_lenght <= 2)  // if no rds data show ps
		    	    	{
						     prepare_rds_for_display(programServicePrevious);
						     display_static_message(mess_rds_ps);
						     change_rds_display = 1;
		    	    	}
		        	    if ((rds_string_lenght > 2) && (rds_string_lenght <= 8)) // 3-8
		        	    {
		        	    	display_static_message(mess_rds_rt1);
		        	    	change_rds_display = 1;
		        	    }
		        	    if (rds_string_lenght > 8)
		        	    {
		        	    	display_static_message(mess_rds_rt1);
		        	    	static uint8_t current_count = 0;
		        	    	current_count++;
                            if (current_count > 10)  // time to display last screen
                            {
                                current_count = 0;
                                change_rds_display = 2;
                            }
		        	    }
		    	    }
		    	    else if (change_rds_display == 2)
		    	    {
//			    	    	if ((mess_rds_rt2[0] ==
//			    	    		 mess_rds_rt2[1] ==
//			    	    		 mess_rds_rt2[2] ==
//			    	    		 mess_rds_rt2[3] ==
//					    	     mess_rds_rt2[4] ==
//					    	     mess_rds_rt2[5] ==
//					    	     mess_rds_rt2[6] ==
//					    	     mess_rds_rt2[7] == ' ') ||
//					    	    (mess_rds_rt2[0] ==
//					    	     mess_rds_rt2[1] ==
//					    	     mess_rds_rt2[2] ==
//					    	     mess_rds_rt2[3] ==
//					    	     mess_rds_rt2[4] ==
//					    	     mess_rds_rt2[5] ==
//					    	     mess_rds_rt2[6] ==
//					    	     mess_rds_rt2[7] == '\0'))
//			    	    	{
//			    	    		change_rds_display = 3;
//			    	    	}
//			    	    	else
//			    	    	{
//			    	    		 display_static_message(mess_rds_rt2);
//			    	    	}
		    	        display_static_message(mess_rds_rt2);
		        	    if ((rds_string_lenght > 8) && (rds_string_lenght <= 16)) // 9-16
		        	    {

		        	    }
		        	    else if (rds_string_lenght > 16)
		        	    {
		        	    	static uint8_t current_count = 0;
		        	    	current_count++;
                            if (current_count > 10)  // time to display last screen
                            {
                                current_count = 0;
                                change_rds_display = 3;
                            }
		        	    }
		    	    }
		    	    else if (change_rds_display == 3)
		    	    {
//			    	    	if ((mess_rds_rt3[0] ==
//			    	    		 mess_rds_rt3[1] ==
//			    	    		 mess_rds_rt3[2] ==
//			    	    		 mess_rds_rt3[3] ==
//					    	     mess_rds_rt3[4] ==
//					    	     mess_rds_rt3[5] ==
//					    	     mess_rds_rt3[6] ==
//					    	     mess_rds_rt3[7] == ' ') ||
//					    	    (mess_rds_rt3[0] ==
//					    	     mess_rds_rt3[1] ==
//					    	     mess_rds_rt3[2] ==
//					    	     mess_rds_rt3[3] ==
//					    	     mess_rds_rt3[4] ==
//					    	     mess_rds_rt3[5] ==
//					    	     mess_rds_rt3[6] ==
//					    	     mess_rds_rt3[7] == '\0'))
//			    	    	{
//			    	    		change_rds_display = 4;
//			    	    	}
//			    	    	else
//			    	    	{
//			    	    		 display_static_message(mess_rds_rt3);
//			    	    	}
		        	    display_static_message(mess_rds_rt3);
		        	    if ((rds_string_lenght > 16) && (rds_string_lenght <= 24)) // 17-24
		        	    {
		        	    	static uint8_t current_count = 0;
		        	    	current_count++;
                            if (current_count > 10)  // time to display last screen
                            {
                                current_count = 0;
                                change_rds_display = 1;
                            }
		        	    }
		        	    else if (rds_string_lenght > 24)
		        	    {
		        	    	static uint8_t current_count = 0;
		        	    	current_count++;
                            if (current_count > 10)  // time to display last screen
                            {
                                current_count = 0;
                                change_rds_display = 4;
                            }
		        	    }
		    	    }
		    	    else if (change_rds_display == 4)
		    	    {
//			    	    	if ((mess_rds_rt4[0] ==
//			    	    		 mess_rds_rt4[1] ==
//			    	    		 mess_rds_rt4[2] ==
//			    	    		 mess_rds_rt4[3] ==
//					    	     mess_rds_rt4[4] ==
//					    	     mess_rds_rt4[5] ==
//					    	     mess_rds_rt4[6] ==
//					    	     mess_rds_rt4[7] == ' ') ||
//					    	    (mess_rds_rt4[0] ==
//					    	     mess_rds_rt4[1] ==
//					    	     mess_rds_rt4[2] ==
//					    	     mess_rds_rt4[3] ==
//					    	     mess_rds_rt4[4] ==
//					    	     mess_rds_rt4[5] ==
//					    	     mess_rds_rt4[6] ==
//					    	     mess_rds_rt4[7] == '\0'))
//			    	    	{
//			    	    		change_rds_display = 5;
//			    	    	}
//			    	    	else
//			    	    	{
//			    	    		 display_static_message(mess_rds_rt4);
//			    	    	}
		        	    display_static_message(mess_rds_rt4);
		        	    if ((rds_string_lenght > 24) && (rds_string_lenght <= 32))  // 25-32
		        	    {
		        	    	static uint8_t current_count = 0;
		        	    	current_count++;
                            if (current_count > 10)  // time to display last screen
                            {
                                current_count = 0;
                                change_rds_display = 1;
                            }
		        	    }
		        	    else if (rds_string_lenght > 32)
		        	    {
		        	    	static uint8_t current_count = 0;
		        	    	current_count++;
                            if (current_count > 10)  // time to display last screen
                            {
                                current_count = 0;
                                change_rds_display = 5;
                            }
		        	    }
		    	    }
		    	    else if (change_rds_display == 5)
		    	    {
//			    	    	if ((mess_rds_rt5[0] ==
//			    	    		 mess_rds_rt5[1] ==
//			    	    		 mess_rds_rt5[2] ==
//			    	    		 mess_rds_rt5[3] ==
//					    	     mess_rds_rt5[4] ==
//					    	     mess_rds_rt5[5] ==
//					    	     mess_rds_rt5[6] ==
//					    	     mess_rds_rt5[7] == ' ') ||
//					    	    (mess_rds_rt5[0] ==
//					    	     mess_rds_rt5[1] ==
//					    	     mess_rds_rt5[2] ==
//					    	     mess_rds_rt5[3] ==
//					    	     mess_rds_rt5[4] ==
//					    	     mess_rds_rt5[5] ==
//					    	     mess_rds_rt5[6] ==
//					    	     mess_rds_rt5[7] == '\0'))
//			    	    	{
//			    	    		change_rds_display = 6;
//			    	    	}
//			    	    	else
//			    	    	{
//			    	    		 display_static_message(mess_rds_rt5);
//			    	    	}
		        	    display_static_message(mess_rds_rt5);
		        	    if ((rds_string_lenght > 32) && (rds_string_lenght <= 40))  // 33-40
		        	    {
		        	    	static uint8_t current_count = 0;
		        	    	current_count++;
                            if (current_count > 10)  // time to display last screen
                            {
                                current_count = 0;
                                change_rds_display = 1;
                            }
		        	    }
		        	    else if (rds_string_lenght > 40)
		        	    {
		        	    	static uint8_t current_count = 0;
		        	    	current_count++;
                            if (current_count > 10)  // time to display last screen
                            {
                                current_count = 0;
                                change_rds_display = 6;
                            }
		        	    }
		    	    }
		        	else if (change_rds_display == 6)
		    	    {
//			    	    	if ((mess_rds_rt6[0] ==
//			    	    		 mess_rds_rt6[1] ==
//			    	    		 mess_rds_rt6[2] ==
//			    	    		 mess_rds_rt6[3] ==
//					    	     mess_rds_rt6[4] ==
//					    	     mess_rds_rt6[5] ==
//					    	     mess_rds_rt6[6] ==
//					    	     mess_rds_rt6[7] == ' ') ||
//					    	    (mess_rds_rt6[0] ==
//					    	     mess_rds_rt6[1] ==
//					    	     mess_rds_rt6[2] ==
//					    	     mess_rds_rt6[3] ==
//					    	     mess_rds_rt6[4] ==
//					    	     mess_rds_rt6[5] ==
//					    	     mess_rds_rt6[6] ==
//					    	     mess_rds_rt6[7] == '\0'))
//			    	    	{
//			    	    		change_rds_display = 1;
//			    	    	}
//			    	    	else
//			    	    	{
//			    	    		 display_static_message(mess_rds_rt6);
//			    	    	}
		    	    	display_static_message(mess_rds_rt6);
	        	    	static uint8_t current_count = 0;
	        	    	current_count++;
                        if (current_count > 10)  // time to display last screen
                        {
                            current_count = 0;
                            change_rds_display = 1;
                        }
		    	    }
		    	}

		    }
		}
		else  // if(!isRDSReady)
		{
            if((programServicePrevious[0] < 32) && (radioTextPrevious[0] < 32))  // if no information from rds
            {
        	    if(freq_vol_changed_manual == false)
        	    {
        	    	display_scrolling_message(mess_frequency);
        	    }

            }
		}

		HAL_GPIO_TogglePin(HCMS_CE_LED_GPIO_Port, HCMS_CE_LED_Pin);
//			  ID = W25Q_ReadID();
//			  print_serial2_message("==============================-------||||---------|----|-");
//			  print_serial2_message_number("W25Q_ReadID = ", ID);
//			  print_serial2_message("==============================-------||||-------------");
	}
}
void read_seek_up_down_gpio()
{
    if(HAL_GPIO_ReadPin (GPIOC, GPIO_PIN_14) == 0)  // seek up  butonul de freq
    {
  	    clear_display();
  	    display_static_message(search_up);
  	    isFmSeekMode = true;
  	    isFmSeekUp = true;
  	    clear_buffers();
    }
    if(HAL_GPIO_ReadPin (GPIOC, GPIO_PIN_15) == 0)  // seek down   butonul de volum
    {
			clear_display();
			display_static_message(search_down);
	        isFmSeekMode = true;
	        isFmSeekUp = false;
	        clear_buffers();
    }
}

void read_PAJ_gesture()
{
	 if (PAJ_event)
	  {
		  Gesture gesture;                  // Gesture is an enum type from RevEng_PAJ7620.h
		  gesture = readGesture();          // Read back current gesture (if any) of type Gesture
		  switch (gesture)
		  {
		    case GES_FORWARD:
		      {
		    	  char str1[] = "GES_FORWARD";
		    	  print_serial2_message(str1);

		        break;
		      }
		    case GES_BACKWARD:
		      {
		    	  char str1[] = "GES_BACKWARD";
		    	  print_serial2_message(str1);

		        break;
		      }
		    case GES_LEFT:
		      {
		    	  //char str1[] = "GES_LEFT";
		    	  char str1[] = "GES_RIGHT";
		    	  print_serial2_message(str1);
		    	  clear_display();
		    	  display_static_message(search_up);   // seekup
		    	  isFmSeekMode = true;
		    	  isFmSeekUp = true;
		    	  clear_buffers();
		          break;
		      }
		    case GES_RIGHT:
		      {
		    	  //char str1[] = "GES_RIGHT";
		    	  char str1[] = "GES_LEFT";
		    	  print_serial2_message(str1);
				  clear_display();
				  display_static_message(search_down);   //seekdown
			      isFmSeekMode = true;
			      isFmSeekUp = false;
			      clear_buffers();
		        break;
		      }
		    case GES_UP:                        // vol-
		      {
		    	  //char str1[] = "GES_UP";
		    	  char str1[] = "GES_DOWN";
		    	  print_serial2_message(str1);
		    	  freq_vol_changed_manual = true;
		    	  __HAL_TIM_SET_COUNTER(&htim5, 9999); // reset timer (countdown timer)
                  volum = volum - 1;
                  if(volum <= 0)
                    volum = 0;
		    	  int vol = map(volum, 0, 30, -40, 15);
		    	  setVolume(vol);
		    	  TIM2->CNT = volum<<1;
		    	  clear_display();
		    	  disp_vol(volum);
		         break;
		      }
		    case GES_DOWN:                      // vol+
		      {
		    	  //char str1[] = "GES_DOWN";
		    	  char str1[] = "GES_UP";
		    	  print_serial2_message(str1);
		    	  freq_vol_changed_manual = true;
		    	  __HAL_TIM_SET_COUNTER(&htim5, 9999); // reset timer (countdown timer)
                  volum = volum + 1;
                  if(volum >= 30)
                    	volum = 30;
		    	  int vol = map(volum, 0, 30, -40, 15);
		    	  setVolume(vol);
		    	  TIM2->CNT = volum<<1;
		    	  clear_display();
		    	  disp_vol(volum);
		          break;
		      }
		    case GES_CLOCKWISE:
		      {
//		    	 char str1[] = "GES_CLOCKWISE";
//		    	 print_serial2_message(str1);
		 		 freq_vol_changed_manual = true;
		 		 __HAL_TIM_SET_COUNTER(&htim5, 9999); // reset timer (countdown timer)
		 		 clear_buffers();
		    	 uint16_t current_freq = getFrequency();
		    	 current_freq  = current_freq + 10;
		    	 setFrequency(current_freq);
		    	 TIM3->CNT = ((current_freq - 8750)/10)<<1;
		 	     clear_display();
		 	     disp_freq(freq);
		 	     freq = current_freq;
		 	     populate_freq_array(freq);
		    	 //HAL_Delay(1);
		         break;
		      }
		    case GES_ANTICLOCKWISE:
		      {
//		    	 char str1[] = "GES_ANTICLOCKWISE";
//		    	 print_serial2_message(str1);
		 		 freq_vol_changed_manual = true;
		 		 __HAL_TIM_SET_COUNTER(&htim5, 9999); // reset timer (countdown timer)
		 		 clear_buffers();
		    	 uint16_t current_freq = getFrequency();
		    	 current_freq  = current_freq - 10;
		    	 setFrequency(current_freq);
		    	 TIM3->CNT = ((current_freq - 8750)/10)<<1;
		 	     clear_display();
		 	     disp_freq(freq);
		 	     freq = current_freq;
		 	     populate_freq_array(freq);
		    	 //HAL_Delay(1);
		         break;
		      }
		    case GES_WAVE:
		      {
		    	  char str1[] = "GES_WAVE";
		    	  print_serial2_message(str1);
		    	  freq_vol_changed_manual = true;
		    	  clear_display();
		    	  display_static_message(hello);   // radio display hello when you waving :)
		        break;
		      }
		    case GES_NONE:
		      {
		        break;
		      }
		  }

//		  if( gesture != GES_NONE )
//		  {
//			  char str1[16];
//			  sprintf(str1, ", Code: %i \n\r", gesture);
//			  print_serial2_message(str1);
//		  }
		  PAJ_event = false;
		  HAL_Delay(5);
	  }
}

//void read_PAJ_gesture_2()
//{
//    uint8_t data = 0, data1 = 0, error;
//
//    error = paj7620ReadReg(0x43, 1, &data);				// Read Bank_0_Reg_0x43/0x44 for gesture result.
//    if (!error) {
//        switch (data) {								// When different gestures be detected, the variable 'data' will be set to different values by paj7620ReadReg(0x43, 1, &data).
//            case GES_RIGHT_FLAG:
//            	HAL_Delay(GES_ENTRY_TIME);
//                paj7620ReadReg(0x43, 1, &data);
//                if (data == GES_FORWARD_FLAG)
//                {
//                    print_serial2_message("Forward");
//                    HAL_Delay(GES_QUIT_TIME);
//                }
//                else if (data == GES_BACKWARD_FLAG)
//                {
//                    print_serial2_message("Backward");
//                    HAL_Delay(GES_QUIT_TIME);
//                }
//                else
//                {
//                    print_serial2_message("Right");
//                }
//                break;
//            case GES_LEFT_FLAG:
//            	HAL_Delay(GES_ENTRY_TIME);
//                paj7620ReadReg(0x43, 1, &data);
//                if (data == GES_FORWARD_FLAG)
//                {
//                    print_serial2_message("Forward");
//                    HAL_Delay(GES_QUIT_TIME);
//                }
//                else if (data == GES_BACKWARD_FLAG)
//                {
//                    print_serial2_message("Backward");
//                    HAL_Delay(GES_QUIT_TIME);
//                }
//                else
//                {
//                	print_serial2_message("Left");
//                }
//                break;
//            case GES_UP_FLAG:
//            	HAL_Delay(GES_ENTRY_TIME);
//                paj7620ReadReg(0x43, 1, &data);
//                if (data == GES_FORWARD_FLAG)
//                {
//                    print_serial2_message("Forward");
//                    HAL_Delay(GES_QUIT_TIME);
//                }
//                else if (data == GES_BACKWARD_FLAG)
//                {
//                    print_serial2_message("Backward");
//                    HAL_Delay(GES_QUIT_TIME);
//                }
//                else
//                {
//                    print_serial2_message("Up");
//                }
//                break;
//            case GES_DOWN_FLAG:
//            	HAL_Delay(GES_ENTRY_TIME);
//                paj7620ReadReg(0x43, 1, &data);
//                if (data == GES_FORWARD_FLAG)
//                {
//                    print_serial2_message("Forward");
//                    HAL_Delay(GES_QUIT_TIME);
//                }
//                else if (data == GES_BACKWARD_FLAG)
//                {
//                    print_serial2_message("Backward");
//                    HAL_Delay(GES_QUIT_TIME);
//                }
//                else
//                {
//                    print_serial2_message("Down");
//                }
//                break;
//            case GES_FORWARD_FLAG:
//                print_serial2_message("Forward");
//                HAL_Delay(GES_QUIT_TIME);
//                break;
//            case GES_BACKWARD_FLAG:
//                print_serial2_message("Backward");
//                HAL_Delay(GES_QUIT_TIME);
//                break;
//            case GES_CLOCKWISE_FLAG:
//                print_serial2_message("Clockwise");
//                break;
//            case GES_COUNT_CLOCKWISE_FLAG:
//                print_serial2_message("anti-clockwise");
//                break;
//            default:
//                paj7620ReadReg(0x44, 1, &data1);
//                if (data1 == GES_WAVE_FLAG)
//                {
//                    print_serial2_message("wave");
//                }
//                break;
//        }
//    }
//    HAL_Delay(100);
//}
/* USER CODE END 4 */

void HAL_TIM_PeriodElapsedCallback(TIM_HandleTypeDef *htim)
{
  if (htim->Instance == TIM1) {
    HAL_IncTick();
  }
  /* USER CODE BEGIN Callback 1 */
  if (htim->Instance == TIM4) {        // ~2.7 sec
	  timer4++;

  }

  if (htim->Instance == TIM5) {        // 3 sec
	  freq_vol_changed_manual = false;
//	  change_rds_display++;
//	  if (change_rds_display > 6)
//		  change_rds_display = 1;
  }

  /* USER CODE END Callback 1 */
}

void Error_Handler(void)
{
  /* USER CODE BEGIN Error_Handler_Debug */
	print_serial2_message("!!! Error_Handler !!!!!!");
  /* User can add his own implementation to report the HAL error return state */
  __disable_irq();
  while (1)
  {
  }
  /* USER CODE END Error_Handler_Debug */
}
